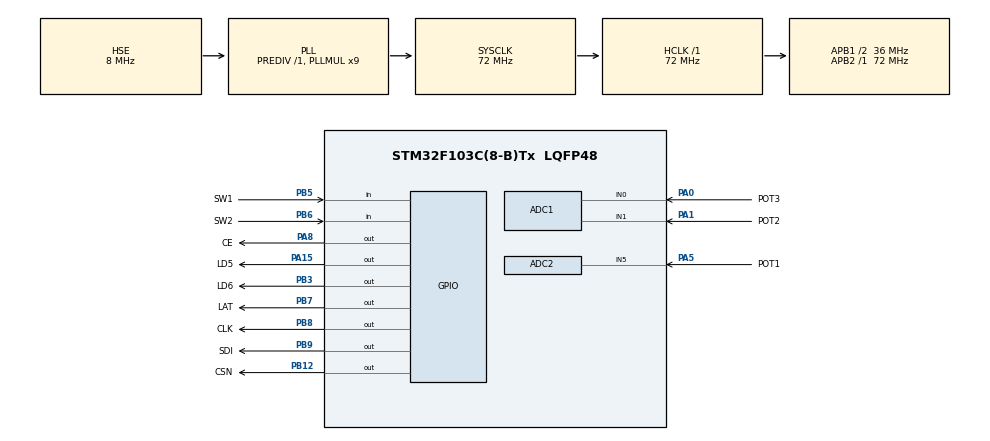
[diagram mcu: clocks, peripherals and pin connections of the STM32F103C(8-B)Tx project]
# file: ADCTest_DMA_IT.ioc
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ADC1.Channel-8\#ChannelRegularConversion=ADC_CHANNEL_0
ADC1.Channel-9\#ChannelRegularConversion=ADC_CHANNEL_1
ADC1.ContinuousConvMode=ENABLE
ADC1.NbrOfConversion=2
ADC1.NbrOfConversionFlag=1
ADC1.Rank-8\#ChannelRegularConversion=1
ADC1.Rank-9\#ChannelRegularConversion=2
ADC1.SamplingTime-8\#ChannelRegularConversion=ADC_SAMPLETIME_239CYCLES_5
ADC1.SamplingTime-9\#ChannelRegularConversion=ADC_SAMPLETIME_239CYCLES_5
ADC1.master=1
ADC2.Channel-3\#ChannelRegularConversion=ADC_CHANNEL_5
ADC2.ContinuousConvMode=DISABLE
ADC2.ExternalTrigConv=ADC_EXTERNALTRIGCONV_T3_TRGO
ADC2.NbrOfConversionFlag=1
ADC2.Rank-3\#ChannelRegularConversion=1
ADC2.SamplingTime-3\#ChannelRegularConversion=ADC_SAMPLETIME_1CYCLE_5
Dma.ADC1.0.Direction=DMA_PERIPH_TO_MEMORY
Dma.ADC1.0.Instance=DMA1_Channel1
Dma.ADC1.0.MemDataAlignment=DMA_MDATAALIGN_WORD
Dma.ADC1.0.MemInc=DMA_MINC_ENABLE
Dma.ADC1.0.Mode=DMA_CIRCULAR
Dma.ADC1.0.PeriphDataAlignment=DMA_PDATAALIGN_WORD
Dma.ADC1.0.PeriphInc=DMA_PINC_DISABLE
Dma.ADC1.0.Priority=DMA_PRIORITY_LOW
Dma.Request0=ADC1
Mcu.Family=STM32F1
Mcu.Name=STM32F103C(8-B)Tx
Mcu.Package=LQFP48
NVIC.ADC1_2_IRQn=true\:0\:0\:false\:false\:true\:true\:true
NVIC.DMA1_Channel1_IRQn=true\:0\:0\:false\:false\:true\:false\:true
NVIC.PriorityGroup=NVIC_PRIORITYGROUP_4
PA0-WKUP.GPIO_Label=POT3
PA0-WKUP.Signal=ADCx_IN0
PA1.GPIO_Label=POT2
PA1.Signal=ADCx_IN1
PA13.GPIO_Label=SWDIO
PA13.Mode=Serial_Wire
PA13.Signal=SYS_JTMS-SWDIO
PA14.GPIO_Label=SWCLK
PA14.Mode=Serial_Wire
PA14.Signal=SYS_JTCK-SWCLK
PA15.GPIO_Label=LD5
PA15.GPIO_ModeDefaultOutputPP=GPIO_MODE_OUTPUT_PP
PA15.GPIO_PuPd=GPIO_NOPULL
PA15.GPIO_Speed=GPIO_SPEED_FREQ_HIGH
PA15.PinState=GPIO_PIN_RESET
PA15.Signal=GPIO_Output
PA5.GPIO_Label=POT1
PA5.Signal=ADCx_IN5
PA6.GPIO_Label=Temp
PA6.Signal=ADCx_IN6
PA7.GPIO_Label=PWMG
PA7.Signal=S_TIM3_CH2
PA8.GPIO_Label=CE
PA8.GPIO_Speed=GPIO_SPEED_FREQ_HIGH
PA8.Signal=GPIO_Output
PB0.GPIO_Label=PWMB
PB0.Signal=S_TIM3_CH3
PB1.GPIO_Label=PWMR
PB1.Signal=S_TIM3_CH4
PB12.GPIO_Label=CSN
PB12.GPIO_Speed=GPIO_SPEED_FREQ_HIGH
PB12.Signal=GPIO_Output
PB13.GPIO_Label=SCK
PB13.Signal=SPI2_SCK
PB14.GPIO_Label=MISO
PB14.Signal=SPI2_MISO
PB15.GPIO_Label=MOSI
PB15.Signal=SPI2_MOSI
PB3.GPIO_Label=LD6
PB3.GPIO_ModeDefaultOutputPP=GPIO_MODE_OUTPUT_PP
PB3.GPIO_PuPd=GPIO_NOPULL
PB3.GPIO_Speed=GPIO_SPEED_FREQ_HIGH
PB3.PinState=GPIO_PIN_RESET
PB3.Signal=GPIO_Output
PB5.GPIO_Label=SW1
PB5.GPIO_Mode=GPIO_MODE_INPUT
PB5.GPIO_PuPd=GPIO_NOPULL
PB5.Signal=GPIO_Input
PB6.GPIO_Label=SW2
PB6.GPIO_Mode=GPIO_MODE_INPUT
PB6.GPIO_PuPd=GPIO_NOPULL
PB6.Signal=GPIO_Input
PB7.GPIO_Label=LAT
PB7.GPIO_ModeDefaultOutputPP=GPIO_MODE_OUTPUT_OD
PB7.GPIO_Speed=GPIO_SPEED_FREQ_HIGH
PB7.PinState=GPIO_PIN_RESET
PB7.Signal=GPIO_Output
PB8.GPIO_Label=CLK
PB8.GPIO_ModeDefaultOutputPP=GPIO_MODE_OUTPUT_OD
PB8.GPIO_Speed=GPIO_SPEED_FREQ_HIGH
PB8.PinState=GPIO_PIN_RESET
PB8.Signal=GPIO_Output
PB9.GPIO_Label=SDI
PB9.GPIO_ModeDefaultOutputPP=GPIO_MODE_OUTPUT_OD
PB9.GPIO_Speed=GPIO_SPEED_FREQ_HIGH
PB9.PinState=GPIO_PIN_RESET
PB9.Signal=GPIO_Output
PD0-OSC_IN.GPIO_Label=OSC_IN
PD0-OSC_IN.Mode=HSE-External-Oscillator
PD0-OSC_IN.Signal=RCC_OSC_IN
PD1-OSC_OUT.GPIO_Label=OSC_OUT
PD1-OSC_OUT.Mode=HSE-External-Oscillator
PD1-OSC_OUT.Signal=RCC_OSC_OUT
ProjectManager.HeapSize=0x200
ProjectManager.StackSize=0x400
ProjectManager.TargetToolchain=MDK-ARM V5.27
RCC.ADCPresc=RCC_ADCPCLK2_DIV6
RCC.AHBFreq_Value=72000000
RCC.APB1CLKDivider=RCC_HCLK_DIV2
RCC.APB1Freq_Value=36000000
RCC.APB1TimFreq_Value=72000000
RCC.APB2Freq_Value=72000000
RCC.APB2TimFreq_Value=72000000
RCC.HCLKFreq_Value=72000000
RCC.PLLMUL=RCC_PLL_MUL9
RCC.PLLSourceVirtual=RCC_PLLSOURCE_HSE
RCC.SYSCLKFreq_VALUE=72000000
RCC.SYSCLKSource=RCC_SYSCLKSOURCE_PLLCLK
RCC.USBFreq_Value=72000000
SH.ADCx_IN0.0=ADC1_IN0,IN0
SH.ADCx_IN1.0=ADC1_IN1,IN1
SH.ADCx_IN5.0=ADC1_IN5
SH.ADCx_IN5.1=ADC2_IN5,IN5
SH.ADCx_IN6.0=ADC1_IN6
SH.S_TIM3_CH2.0=TIM3_CH2
SH.S_TIM3_CH3.0=TIM3_CH3
SH.S_TIM3_CH4.0=TIM3_CH4
TIM3.Period=5000
TIM3.Prescaler=7200-1
TIM3.TIM_MasterOutputTrigger=TIM_TRGO_UPDATE
VP_TIM3_VS_ClockSourceINT.Mode=Internal
board=custom

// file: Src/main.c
/* USER CODE BEGIN Header */
/**
  ******************************************************************************
  * @file           : main.c
  * @brief          : Main program body
  ******************************************************************************
  * @attention
  *
  * <h2><center>&copy; Copyright (c) 2020 STMicroelectronics.
  * All rights reserved.</center></h2>
  *
  * This software component is licensed by ST under BSD 3-Clause license,
  * the "License"; You may not use this file except in compliance with the
  * License. You may obtain a copy of the License at:
  *                        opensource.org/licenses/BSD-3-Clause
  *
  ******************************************************************************
  */
/* USER CODE END Header */

#include "main.h"
#include "adc.h"
#include "dma.h"
#include "tim.h"
#include "gpio.h"

/* USER CODE BEGIN Includes */
#include "..\..\bsp\display.h"
/* USER CODE END Includes */

void SystemClock_Config(void);

/* USER CODE BEGIN 0 */
void HAL_SYSTICK_Callback(void)
{
  DisplayRun();
}

void HAL_ADC_ConvCpltCallback(ADC_HandleTypeDef* hadc)
{
  if (hadc == &hadc1)
    HAL_GPIO_TogglePin(LD5_GPIO_Port, LD5_Pin);
  if (hadc == &hadc2)
    HAL_GPIO_TogglePin(LD6_GPIO_Port, LD6_Pin);
}
/* USER CODE END 0 */

int main(void)
{

  /* MCU Configuration--------------------------------------------------------*/

  /* Reset of all peripherals, Initializes the Flash interface and the Systick. */
  HAL_Init();

  /* Configure the system clock */
  SystemClock_Config();

  /* Initialize all configured peripherals */
  MX_GPIO_Init();
  MX_DMA_Init();
  MX_ADC1_Init();
  MX_ADC2_Init();
  MX_TIM3_Init();
  /* USER CODE BEGIN 2 */
  HAL_ADCEx_Calibration_Start(&hadc1);
  HAL_ADCEx_Calibration_Start(&hadc2);

  uint32_t pData[2];

  HAL_ADC_Start_DMA(&hadc1, pData, 2);
  HAL_ADC_Start_IT(&hadc2);

  // Pay high attention ContinuousConvMode
  // If you use Software Trigger, disable it
  // If you use External Trigger, enable it
  HAL_TIM_Base_Start(&htim3);
  /* USER CODE END 2 */

  /* Infinite loop */
  /* USER CODE BEGIN WHILE */
  while (1)
  {
    uint32_t val1 = ((uint16_t *)pData)[2];
    uint32_t val2 = ((uint16_t *)pData)[0];
    uint32_t val3 = HAL_ADC_GetValue(&hadc2);

    GPIO_PinState key1 = HAL_GPIO_ReadPin(SW1_GPIO_Port, SW1_Pin);
    GPIO_PinState key2 = HAL_GPIO_ReadPin(SW2_GPIO_Port, SW2_Pin);

    if (key1 && key2)
      DisplayNumber(val3);
    if (!key1)
      DisplayNumber(val1);
    if (!key2)
      DisplayNumber(val2);

    HAL_Delay(100);
    /* USER CODE END WHILE */

  }
}

void SystemClock_Config(void)
{
  RCC_OscInitTypeDef RCC_OscInitStruct = {0};
  RCC_ClkInitTypeDef RCC_ClkInitStruct = {0};
  RCC_PeriphCLKInitTypeDef PeriphClkInit = {0};

  /** Initializes the CPU, AHB and APB busses clocks
  */
  RCC_OscInitStruct.OscillatorType = RCC_OSCILLATORTYPE_HSE;
  RCC_OscInitStruct.HSEState = RCC_HSE_ON;
  RCC_OscInitStruct.HSEPredivValue = RCC_HSE_PREDIV_DIV1;
  RCC_OscInitStruct.HSIState = RCC_HSI_ON;
  RCC_OscInitStruct.PLL.PLLState = RCC_PLL_ON;
  RCC_OscInitStruct.PLL.PLLSource = RCC_PLLSOURCE_HSE;
  RCC_OscInitStruct.PLL.PLLMUL = RCC_PLL_MUL9;
  if (HAL_RCC_OscConfig(&RCC_OscInitStruct) != HAL_OK)
  {
    Error_Handler();
  }
  /** Initializes the CPU, AHB and APB busses clocks
  */
  RCC_ClkInitStruct.ClockType = RCC_CLOCKTYPE_HCLK|RCC_CLOCKTYPE_SYSCLK
                              |RCC_CLOCKTYPE_PCLK1|RCC_CLOCKTYPE_PCLK2;
  RCC_ClkInitStruct.SYSCLKSource = RCC_SYSCLKSOURCE_PLLCLK;
  RCC_ClkInitStruct.AHBCLKDivider = RCC_SYSCLK_DIV1;
  RCC_ClkInitStruct.APB1CLKDivider = RCC_HCLK_DIV2;
  RCC_ClkInitStruct.APB2CLKDivider = RCC_HCLK_DIV1;

  if (HAL_RCC_ClockConfig(&RCC_ClkInitStruct, FLASH_LATENCY_2) != HAL_OK)
  {
    Error_Handler();
  }
  PeriphClkInit.PeriphClockSelection = RCC_PERIPHCLK_ADC;
  PeriphClkInit.AdcClockSelection = RCC_ADCPCLK2_DIV6;
  if (HAL_RCCEx_PeriphCLKConfig(&PeriphClkInit) != HAL_OK)
  {
    Error_Handler();
  }
}

void Error_Handler(void)
{
}

/************************ (C) COPYRIGHT STMicroelectronics *****END OF FILE****/
